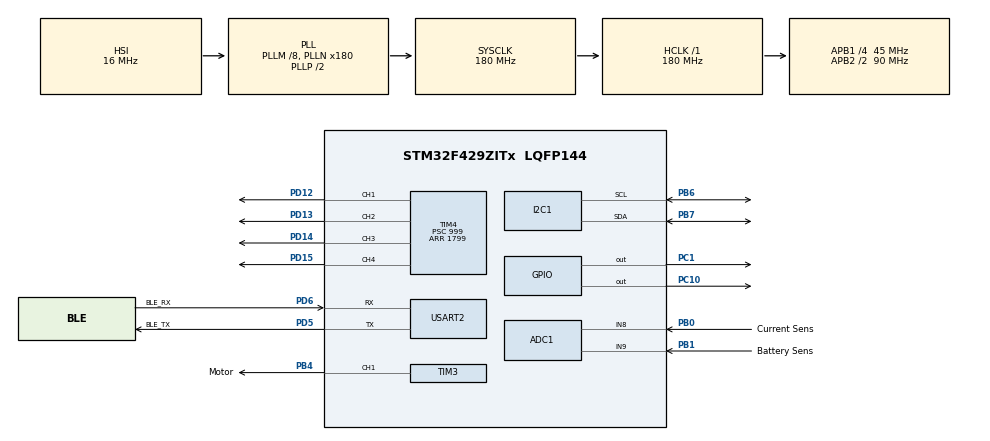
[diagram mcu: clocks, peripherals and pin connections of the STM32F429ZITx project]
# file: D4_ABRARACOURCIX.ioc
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ADC1.Channel-0\#ChannelRegularConversion=ADC_CHANNEL_8
ADC1.Channel-1\#ChannelRegularConversion=ADC_CHANNEL_9
ADC1.ContinuousConvMode=DISABLE
ADC1.EOCSelection=ADC_EOC_SEQ_CONV
ADC1.NbrOfConversion=2
ADC1.NbrOfConversionFlag=1
ADC1.Rank-0\#ChannelRegularConversion=1
ADC1.Rank-1\#ChannelRegularConversion=2
ADC1.SamplingTime-0\#ChannelRegularConversion=ADC_SAMPLETIME_144CYCLES
ADC1.SamplingTime-1\#ChannelRegularConversion=ADC_SAMPLETIME_144CYCLES
ADC1.ScanConvMode=ENABLE
ADC1.master=1
Dma.ADC1.2.Direction=DMA_PERIPH_TO_MEMORY
Dma.ADC1.2.FIFOMode=DMA_FIFOMODE_DISABLE
Dma.ADC1.2.Instance=DMA2_Stream0
Dma.ADC1.2.MemDataAlignment=DMA_MDATAALIGN_WORD
Dma.ADC1.2.MemInc=DMA_MINC_ENABLE
Dma.ADC1.2.Mode=DMA_CIRCULAR
Dma.ADC1.2.PeriphDataAlignment=DMA_PDATAALIGN_WORD
Dma.ADC1.2.PeriphInc=DMA_PINC_DISABLE
Dma.ADC1.2.Priority=DMA_PRIORITY_LOW
Dma.I2C1_RX.1.Direction=DMA_PERIPH_TO_MEMORY
Dma.I2C1_RX.1.FIFOMode=DMA_FIFOMODE_DISABLE
Dma.I2C1_RX.1.Instance=DMA1_Stream0
Dma.I2C1_RX.1.MemDataAlignment=DMA_MDATAALIGN_BYTE
Dma.I2C1_RX.1.MemInc=DMA_MINC_ENABLE
Dma.I2C1_RX.1.Mode=DMA_NORMAL
Dma.I2C1_RX.1.PeriphDataAlignment=DMA_PDATAALIGN_BYTE
Dma.I2C1_RX.1.PeriphInc=DMA_PINC_DISABLE
Dma.I2C1_RX.1.Priority=DMA_PRIORITY_LOW
Dma.I2C1_TX.0.Direction=DMA_MEMORY_TO_PERIPH
Dma.I2C1_TX.0.FIFOMode=DMA_FIFOMODE_DISABLE
Dma.I2C1_TX.0.Instance=DMA1_Stream6
Dma.I2C1_TX.0.MemDataAlignment=DMA_MDATAALIGN_BYTE
Dma.I2C1_TX.0.MemInc=DMA_MINC_ENABLE
Dma.I2C1_TX.0.Mode=DMA_NORMAL
Dma.I2C1_TX.0.PeriphDataAlignment=DMA_PDATAALIGN_BYTE
Dma.I2C1_TX.0.PeriphInc=DMA_PINC_DISABLE
Dma.I2C1_TX.0.Priority=DMA_PRIORITY_LOW
Dma.Request0=I2C1_TX
Dma.Request1=I2C1_RX
Dma.Request2=ADC1
Mcu.Family=STM32F4
Mcu.Name=STM32F429ZITx
Mcu.Package=LQFP144
NVIC.ADC_IRQn=true\:0\:0\:false\:false\:true\:true\:true\:true
NVIC.DMA1_Stream0_IRQn=true\:0\:0\:false\:false\:true\:false\:true\:true
NVIC.DMA1_Stream6_IRQn=true\:0\:0\:false\:false\:true\:false\:true\:true
NVIC.DMA2_Stream0_IRQn=true\:0\:0\:false\:false\:true\:false\:true\:true
NVIC.I2C1_ER_IRQn=true\:0\:0\:false\:false\:true\:true\:true\:true
NVIC.I2C1_EV_IRQn=true\:0\:0\:false\:false\:true\:true\:true\:true
NVIC.PriorityGroup=NVIC_PRIORITYGROUP_4
NVIC.TIM5_IRQn=true\:0\:0\:false\:false\:true\:true\:true\:true
NVIC.USART2_IRQn=true\:0\:0\:false\:false\:true\:true\:true\:true
PA13.Mode=Serial_Wire
PA13.Signal=SYS_JTMS-SWDIO
PA14.Mode=Serial_Wire
PA14.Signal=SYS_JTCK-SWCLK
PB0.GPIO_Label=Current Sens
PB0.Signal=ADCx_IN8
PB1.GPIO_Label=Battery Sens
PB1.Signal=ADCx_IN9
PB4.GPIO_Label=Motor
PB4.Signal=S_TIM3_CH1
PB6.GPIO_Pu=GPIO_PULLUP
PB6.Mode=I2C
PB6.Signal=I2C1_SCL
PB7.GPIO_Pu=GPIO_PULLUP
PB7.Mode=I2C
PB7.Signal=I2C1_SDA
PC1.Signal=GPIO_Output
PC10.Signal=GPIO_Output
PD12.Signal=S_TIM4_CH1
PD13.Signal=S_TIM4_CH2
PD14.Signal=S_TIM4_CH3
PD15.Signal=S_TIM4_CH4
PD5.GPIO_Label=BLE_TX
PD5.Mode=Asynchronous
PD5.Signal=USART2_TX
PD6.GPIO_Label=BLE_RX
PD6.Mode=Asynchronous
PD6.Signal=USART2_RX
ProjectManager.HeapSize=0x200
ProjectManager.StackSize=0x400
ProjectManager.TargetToolchain=STM32CubeIDE
RCC.48MHZClocksFreq_Value=90000000
RCC.AHBFreq_Value=180000000
RCC.APB1CLKDivider=RCC_HCLK_DIV4
RCC.APB1Freq_Value=45000000
RCC.APB1TimFreq_Value=90000000
RCC.APB2CLKDivider=RCC_HCLK_DIV2
RCC.APB2Freq_Value=90000000
RCC.APB2TimFreq_Value=180000000
RCC.CortexFreq_Value=180000000
RCC.HCLKFreq_Value=180000000
RCC.HSE_VALUE=25000000
RCC.HSI_VALUE=16000000
RCC.LSE_VALUE=32768
RCC.PLLM=8
RCC.PLLN=180
RCC.SYSCLKFreq_VALUE=180000000
RCC.SYSCLKSource=RCC_SYSCLKSOURCE_PLLCLK
RCC.VCOOutputFreq_Value=360000000
SH.ADCx_IN8.0=ADC1_IN8,IN8
SH.ADCx_IN9.0=ADC1_IN9,IN9
SH.S_TIM3_CH1.0=TIM3_CH1,PWM Generation1 CH1
SH.S_TIM4_CH1.0=TIM4_CH1,PWM Generation1 CH1
SH.S_TIM4_CH2.0=TIM4_CH2,PWM Generation2 CH2
SH.S_TIM4_CH3.0=TIM4_CH3,PWM Generation3 CH3
SH.S_TIM4_CH4.0=TIM4_CH4,PWM Generation4 CH4
TIM3.AutoReloadPreload=TIM_AUTORELOAD_PRELOAD_ENABLE
TIM3.Channel-PWM\ Generation1\ CH1=TIM_CHANNEL_1
TIM3.Period=19999
TIM3.Prescaler=89
TIM4.Channel-PWM\ Generation1\ CH1=TIM_CHANNEL_1
TIM4.Channel-PWM\ Generation2\ CH2=TIM_CHANNEL_2
TIM4.Channel-PWM\ Generation3\ CH3=TIM_CHANNEL_3
TIM4.Channel-PWM\ Generation4\ CH4=TIM_CHANNEL_4
TIM4.Period=1799
TIM4.Prescaler=999
TIM5.AutoReloadPreload=TIM_AUTORELOAD_PRELOAD_ENABLE
TIM5.Channel-Output\ Compare1\ No\ Output=TIM_CHANNEL_1
TIM5.Period=4499999
TIM5.Prescaler=0
USART2.VirtualMode=VM_ASYNC
VP_TIM3_VS_ClockSourceINT.Mode=Internal
VP_TIM4_VS_ClockSourceINT.Mode=Internal
VP_TIM5_VS_ClockSourceINT.Mode=Internal
VP_TIM5_VS_no_output1.Mode=Output Compare1 No Output
board=custom

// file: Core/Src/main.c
/* USER CODE BEGIN Header */
/**
  ******************************************************************************
  * @file           : main.c
  * @brief          : Main program body
  ******************************************************************************
  * @attention
  *
  * Copyright (c) 2025 STMicroelectronics.
  * All rights reserved.
  *
  * This software is licensed under terms that can be found in the LICENSE file
  * in the root directory of this software component.
  * If no LICENSE file comes with this software, it is provided AS-IS.
  *
  ******************************************************************************
  */
/* USER CODE END Header */
#include "main.h"
#include "adc.h"
#include "dma.h"
#include "i2c.h"
#include "tim.h"
#include "usart.h"
#include "gpio.h"

/* USER CODE BEGIN Includes */
#include "BLE/BLE.h"
#include "Servo/Servo.h"
#include "IMU/IMU.h"
#include "Controller/Controller.h"
#include "BLE/BLE_Commands.h"
#include "BLE/BLE_tx.h"
/* USER CODE END Includes */

void SystemClock_Config(void);

/* USER CODE BEGIN 0 */
float setpoint = 0;

// FONCTION APPELÉE À TOUS LES 25 MS.

// FONCTION POUR LIRE ADC
static uint32_t current = 0;
static uint32_t battery = 0;
uint32_t adcBuffer[2];
void HAL_ADC_ConvCpltCallback(ADC_HandleTypeDef* hadc)
{
	if (hadc->Instance == ADC1) {
			current = adcBuffer[0];
			battery = adcBuffer[1];
	    HAL_ADC_Start_DMA(&hadc1, (uint32_t*)adcBuffer, 2);
	}
}
float get_bat_current()
{
	//        tension lue par ADC * ratio de résistances * ratio de l'ADC
float	current_conv = (float)current * 3.0 / 2.0 * 3.3 / 4096.0;
	return (current_conv - 2.5)*10.0;
}

float get_bat_voltage()
{
	//return 100.0 * (float)battery / 4096.0;

	//tension lue par l'ADC sur 4096 * ratio de l'ADC 12 bits
float	battery_conv = (float)battery * 3.3 / 4096.0;
// 3 = gain ampli diff - référence de tension / diviseur de tension
	return  ((battery_conv/3.0)+2.46)/0.2;
}

// FONCTION POUR METTRE À JOUR LE DISPLAY DATA

static int angular_speed = 0.0;
static float bat_current = 0.0;
static float current_set_point = 0.0;
static float bat_voltage = 0.0;
static float error = 0.0;
static float int_error = 0.0;
static float P = 0.0;
static float I = 0.0;
static float D = 0.0;
static int time_tick = 0;
static float m_duty_cycle = 0.0;

void update_disp_variables(){
	angular_speed = get_ang_speed();
	current_set_point = get_setpoint();
	error = get_error();
	int_error = get_int_error();
	P = get_P();
	I = get_I();
	D = get_D();
	time_tick = HAL_GetTick();
	bat_current = get_bat_current();
	bat_voltage = get_bat_voltage();
	m_duty_cycle = get_duty_cycle();
}

void disp_variables(){

	send_float_package('S', angular_speed);
	send_float_package('K', current_set_point);
	send_float_package('A', bat_current);
	send_uint32_t_package('T', time_tick);
	send_float_package('B', bat_voltage);
	send_float_package('E', error);
	send_float_package('N', int_error);
	send_float_package('P', P);
	send_float_package('I', I);
	send_float_package('D', D);
	send_float_package('L', m_duty_cycle);

}

static uint32_t counter = 0;
static int ready_to_send = 0;
void HAL_TIM_PeriodElapsedCallback(TIM_HandleTypeDef* htim)
{
    if(htim->Instance == TIM5)
    {
    	HAL_GPIO_TogglePin(GPIOC, GPIO_PIN_1);
    	regulate(setpoint);
    	if(counter == 10)
    	{
    		ready_to_send = 1;
    		counter = 0;
    	}
    	counter++;

    }
}

/* USER CODE END 0 */

int main(void)
{

  /* MCU Configuration--------------------------------------------------------*/

  /* Reset of all peripherals, Initializes the Flash interface and the Systick. */
  HAL_Init();

  /* Configure the system clock */
  SystemClock_Config();

  /* Initialize all configured peripherals */
  MX_GPIO_Init();
  MX_DMA_Init();
  MX_TIM4_Init();
  MX_TIM3_Init();
  MX_USART2_UART_Init();
  MX_I2C1_Init();
  MX_TIM5_Init();
  MX_ADC1_Init();
  /* USER CODE BEGIN 2 */
  HAL_TIM_PWM_Start(&htim4, TIM_CHANNEL_1);
  HAL_TIM_PWM_Start(&htim4, TIM_CHANNEL_2);
  HAL_TIM_PWM_Start(&htim4, TIM_CHANNEL_3);
  HAL_TIM_PWM_Start(&htim4, TIM_CHANNEL_4);
  HAL_TIM_Base_Start_IT(&htim5);
  HAL_ADC_Start_DMA(&hadc1, (uint32_t*)adcBuffer, 2);

  /* USER CODE END 2 */

  /* Infinite loop */
  /* USER CODE BEGIN WHILE */

  IMU_Init();
  BLE_Init();
  init_offset();

  uint8_t uartData = 0;
  while (1)
  {
    /* USER CODE END WHILE */

    /* USER CODE BEGIN 3 */
	  if(BLE_ReadData(&uartData)){
		  BLE_ParseCommand(&uartData);
	  }

	  IMU_Task();

	  //if(HAL_GetTick() - start_time >= delta_time){
	  if(ready_to_send){
		  update_disp_variables();
		  disp_variables();

		  ready_to_send = 0;

	  }
  }
  /* USER CODE END 3 */
}

void SystemClock_Config(void)
{
  RCC_OscInitTypeDef RCC_OscInitStruct = {0};
  RCC_ClkInitTypeDef RCC_ClkInitStruct = {0};

  /** Configure the main internal regulator output voltage
  */
  __HAL_RCC_PWR_CLK_ENABLE();
  __HAL_PWR_VOLTAGESCALING_CONFIG(PWR_REGULATOR_VOLTAGE_SCALE1);

  /** Initializes the RCC Oscillators according to the specified parameters
  * in the RCC_OscInitTypeDef structure.
  */
  RCC_OscInitStruct.OscillatorType = RCC_OSCILLATORTYPE_HSI;
  RCC_OscInitStruct.HSIState = RCC_HSI_ON;
  RCC_OscInitStruct.HSICalibrationValue = RCC_HSICALIBRATION_DEFAULT;
  RCC_OscInitStruct.PLL.PLLState = RCC_PLL_ON;
  RCC_OscInitStruct.PLL.PLLSource = RCC_PLLSOURCE_HSI;
  RCC_OscInitStruct.PLL.PLLM = 8;
  RCC_OscInitStruct.PLL.PLLN = 180;
  RCC_OscInitStruct.PLL.PLLP = RCC_PLLP_DIV2;
  RCC_OscInitStruct.PLL.PLLQ = 4;
  if (HAL_RCC_OscConfig(&RCC_OscInitStruct) != HAL_OK)
  {
    Error_Handler();
  }

  /** Activate the Over-Drive mode
  */
  if (HAL_PWREx_EnableOverDrive() != HAL_OK)
  {
    Error_Handler();
  }

  /** Initializes the CPU, AHB and APB buses clocks
  */
  RCC_ClkInitStruct.ClockType = RCC_CLOCKTYPE_HCLK|RCC_CLOCKTYPE_SYSCLK
                              |RCC_CLOCKTYPE_PCLK1|RCC_CLOCKTYPE_PCLK2;
  RCC_ClkInitStruct.SYSCLKSource = RCC_SYSCLKSOURCE_PLLCLK;
  RCC_ClkInitStruct.AHBCLKDivider = RCC_SYSCLK_DIV1;
  RCC_ClkInitStruct.APB1CLKDivider = RCC_HCLK_DIV4;
  RCC_ClkInitStruct.APB2CLKDivider = RCC_HCLK_DIV2;

  if (HAL_RCC_ClockConfig(&RCC_ClkInitStruct, FLASH_LATENCY_5) != HAL_OK)
  {
    Error_Handler();
  }
}

void Error_Handler(void)
{
  __disable_irq();
  while (1)
  {
  }
}
